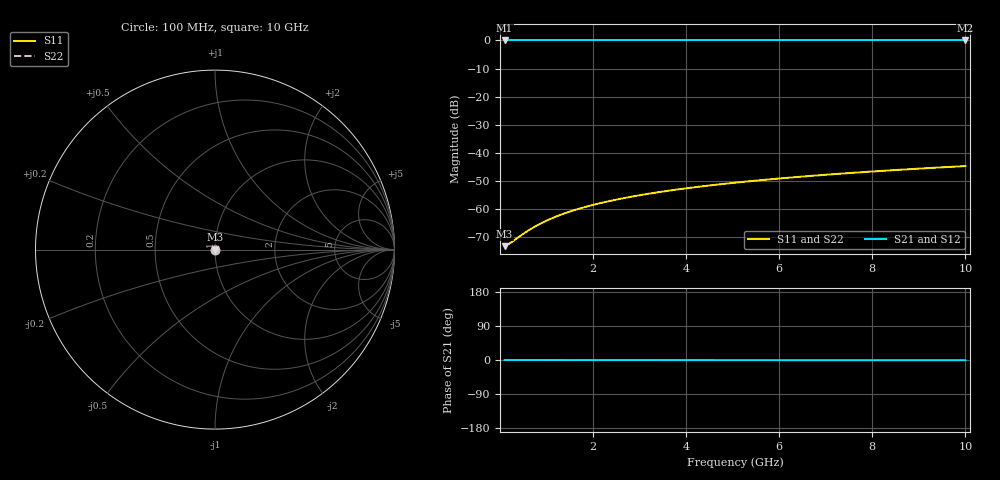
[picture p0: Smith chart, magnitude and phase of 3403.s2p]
# Hz S RI R 50.00
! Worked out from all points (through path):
!   100 points, 100 MHz to 10 GHz, reference 50 ohm
!   highest |S21| = 0.00 dB at 100 MHz (marker M1); lowest = 0.0 dB at 10 GHz (marker M2)
!   lowest |S11| = -73.3 dB at 100 MHz (marker M3), VSWR 1.00, Z = 50 + j0.00576 ohm
!   |S11| at or under -10 dB: start of sweep to end of sweep
!   |S22| runs from -73.3 to -44.8 dB; largest |S21 - S12| = 0
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1e8  0.000208 5.75e-05  0.9998 -0.000108  0.9998 -0.000108  0.000208 5.75e-05
2e8  0.000209 0.000115  0.9998 -0.000216  0.9998 -0.000216  0.000209 0.000115
5e8  0.000212 0.000288  0.9998 -0.000541  0.9998 -0.000541  0.000212 0.000288
6e8  0.000212 0.000345  0.9998 -0.000649  0.9998 -0.000649  0.000212 0.000345
7e8  0.000213 0.000403  0.9998 -0.000757  0.9998 -0.000757  0.000213 0.000403
9e8  0.000214 0.000518  0.9998 -0.000974  0.9998 -0.000974  0.000214 0.000518
1.1e9  0.000215 0.000633  0.9998 -0.00119  0.9998 -0.00119  0.000215 0.000633
1.3e9  0.000216 0.000748  0.9998 -0.00141  0.9998 -0.00141  0.000216 0.000748
1.5e9  0.000217 0.000863  0.9998 -0.00162  0.9998 -0.00162  0.000217 0.000863
1.8e9  0.000219 0.00104  0.9998 -0.00195  0.9998 -0.00195  0.000219 0.00104
2.1e9  0.00022 0.00121  0.9998 -0.00227  0.9998 -0.00227  0.00022 0.00121
2.5e9  0.000222 0.00144  0.9998 -0.00271  0.9998 -0.00271  0.000222 0.00144
2.9e9  0.000225 0.00167  0.9998 -0.00314  0.9998 -0.00314  0.000225 0.00167
3.4e9  0.000228 0.00196  0.9998 -0.00368  0.9998 -0.00368  0.000228 0.00196
3.8e9  0.00023 0.00219  0.9998 -0.00411  0.9998 -0.00411  0.00023 0.00219
4.2e9  0.000233 0.00242  0.9998 -0.00455  0.9998 -0.00455  0.000233 0.00242
5.1e9  0.00024 0.00294  0.9998 -0.00552  0.9998 -0.00552  0.00024 0.00294
5.9e9  0.000247 0.0034  0.9997 -0.00639  0.9997 -0.00639  0.000247 0.0034
6.7e9  0.000255 0.00386  0.9997 -0.00726  0.9997 -0.00726  0.000255 0.00386
7.5e9  0.000263 0.00432  0.9997 -0.00812  0.9997 -0.00812  0.000263 0.00432
8.4e9  0.000273 0.00484  0.9997 -0.0091  0.9997 -0.0091  0.000273 0.00484
1e10  0.000295 0.00576  0.9997 -0.0108  0.9997 -0.0108  0.000295 0.00576
